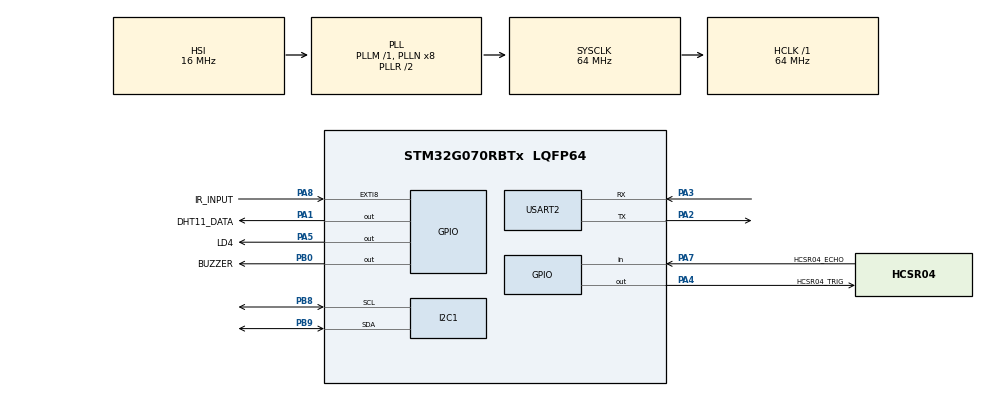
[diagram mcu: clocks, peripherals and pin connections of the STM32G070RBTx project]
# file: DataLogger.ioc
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FREERTOS.Tasks01=defaultTask,24,128,StartDefaultTask,Default,NULL,Dynamic,NULL,NULL
FREERTOS.configUSE_NEWLIB_REENTRANT=1
I2C1.Timing=0x10B17DB5
Mcu.Family=STM32G0
Mcu.Name=STM32G070RBTx
Mcu.Package=LQFP64
NVIC.EXTI4_15_IRQn=true\:3\:0\:false\:false\:true\:true\:true\:true\:true
NVIC.TIM1_BRK_UP_TRG_COM_IRQn=true\:3\:0\:false\:false\:true\:false\:false\:true\:true
NVIC.TimeBase=TIM1_BRK_UP_TRG_COM_IRQn
NVIC.TimeBaseIP=TIM1
PA1.GPIO_Label=DHT11_DATA
PA1.Signal=GPIO_Output
PA2.Mode=Asynchronous
PA2.Signal=USART2_TX
PA3.Mode=Asynchronous
PA3.Signal=USART2_RX
PA4.GPIO_Label=HCSR04_TRIG
PA4.GPIO_Speed=GPIO_SPEED_FREQ_HIGH
PA4.Signal=GPIO_Output
PA5.GPIO_Label=LD4
PA5.Signal=GPIO_Output
PA7.GPIO_Label=HCSR04_ECHO
PA7.Signal=GPIO_Input
PA8.GPIO_Label=IR_INPUT
PA8.GPIO_ModeDefaultEXTI=GPIO_MODE_IT_FALLING
PA8.GPIO_PuPd=GPIO_PULLUP
PA8.Signal=GPXTI8
PB0.GPIO_Label=BUZZER
PB0.Signal=GPIO_Output
PB8.Mode=I2C
PB8.Signal=I2C1_SCL
PB9.Mode=I2C
PB9.Signal=I2C1_SDA
ProjectManager.HeapSize=0x200
ProjectManager.StackSize=0x400
ProjectManager.TargetToolchain=STM32CubeIDE
RCC.ADCFreq_Value=64000000
RCC.AHBFreq_Value=64000000
RCC.CortexFreq_Value=64000000
RCC.EXTERNAL_CLOCK_VALUE=48000
RCC.HCLKFreq_Value=64000000
RCC.HSE_VALUE=8000000
RCC.HSI_VALUE=16000000
RCC.LSE_VALUE=32768
RCC.SYSCLKFreq_VALUE=64000000
RCC.SYSCLKSource=RCC_SYSCLKSOURCE_PLLCLK
RCC.VCOOutputFreq_Value=128000000
TIM14.Prescaler=63
TIM16.Prescaler=63
TIM17.Prescaler=63
USART2.VirtualMode-Asynchronous=VM_ASYNC
VP_FREERTOS_VS_CMSIS_V2.Mode=CMSIS_V2
VP_SYS_VS_tim1.Mode=TIM1
VP_TIM14_VS_ClockSourceINT.Mode=Enable_Timer
VP_TIM16_VS_ClockSourceINT.Mode=Enable_Timer
VP_TIM17_VS_ClockSourceINT.Mode=Enable_Timer
board=custom

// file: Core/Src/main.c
/* USER CODE BEGIN Header */
/**
  ******************************************************************************
  * @file           : main.c
  * @brief          : Main program body
  ******************************************************************************
  * @attention
  *
  * Copyright (c) 2026 STMicroelectronics.
  * All rights reserved.
  *
  * This software is licensed under terms that can be found in the LICENSE file
  * in the root directory of this software component.
  * If no LICENSE file comes with this software, it is provided AS-IS.
  *
  ******************************************************************************
  */
/* USER CODE END Header */
#include "main.h"
#include "cmsis_os.h"

/* USER CODE BEGIN Includes */
#include "DHT11.h"
#include "utils.h"
#include "HCSR04.h"
#include "ring_buffer.h"
#include "ir_remote.h"
#include "lcd.h"
#include <stdio.h>
#include <string.h>

#include "FreeRTOS.h"
#include "task.h"
#include "semphr.h"
#include "queue.h"
/* USER CODE END Includes */

/* USER CODE BEGIN PTD */
typedef struct {
	char line1[22];
	char line2[22];
} LCD_Message_t;
/* USER CODE END PTD */

I2C_HandleTypeDef hi2c1;

TIM_HandleTypeDef htim14;
TIM_HandleTypeDef htim16;
TIM_HandleTypeDef htim17;

UART_HandleTypeDef huart2;

/* Definitions for defaultTask */
osThreadId_t defaultTaskHandle;
const osThreadAttr_t defaultTask_attributes = {
  .name = "defaultTask",
  .priority = (osPriority_t) osPriorityNormal,
  .stack_size = 128 * 4
};
/* USER CODE BEGIN PV */
static SystemMode_t current_mode = MODE_LIVE;
static uint8_t playback_index = 0;
static RingBuffer_t rb;
static uint16_t distance_threshold = 20;
static uint16_t temp_distance_threshold = 20;

static uint16_t shared_distance = 0;
static SemaphoreHandle_t distance_mutex;

static TaskHandle_t dht11_task_handle;
static TaskHandle_t hcsr04_task_handle;

static QueueHandle_t lcd_queue;

static SemaphoreHandle_t ir_semaphore;
/* USER CODE END PV */

void SystemClock_Config(void);
static void MX_GPIO_Init(void);
static void MX_I2C1_Init(void);
static void MX_TIM14_Init(void);
static void MX_TIM16_Init(void);
static void MX_TIM17_Init(void);
static void MX_USART2_UART_Init(void);
void StartDefaultTask(void *argument);

/* USER CODE BEGIN 0 */
void Handle_IR_Command(IR_Data_t *ir_data);

void LED_Blink_Task(void *argument);
void UART_Print(char *msg);
void HCSR04_Task(void *argument);
void DHT11_Task(void *argument);
void Display_Task(void *argument);
void IR_Task(void *argument);

/* -------------------------------- OS Tasks -------------------------------- */
void LED_Blink_Task(void *argument){
	for(;;){
		HAL_GPIO_TogglePin(LD4_GPIO_Port, LD4_Pin);
		vTaskDelay(pdMS_TO_TICKS(1000));
	}
}

void HCSR04_Task(void *argument){
	HCSR04_Data_t data;
	HCSR04_Status_t status;
	TickType_t last_wake_time = xTaskGetTickCount();

	for(;;){

        // Reset wake time at start of each iteration
        // This prevents catch-up after suspension
        last_wake_time = xTaskGetTickCount();

		status = HCSR04_Read(&data);

		if(status == HCSR04_OK){
			if(xSemaphoreTake(distance_mutex, pdMS_TO_TICKS(100) == pdTRUE)){
				shared_distance = data.distance_cm;
				xSemaphoreGive(distance_mutex);
			}
		}
		vTaskDelayUntil(&last_wake_time, pdMS_TO_TICKS(500));
	}
}

void DHT11_Task(void *argument){
	DHT11_Data_t dht_data;
	DHT11_Status_t dht_status;
	uint16_t local_distance;
	char uart_buf[64];
	TickType_t last_wake_time = xTaskGetTickCount();

	LCD_Message_t msg;

	for(;;){

          // Reset wake time at start of each iteration
          // This prevents catch-up after suspension
          last_wake_time = xTaskGetTickCount();

		  vTaskSuspendAll();
		  dht_status = DHT11_ReadData(&dht_data);
		  xTaskResumeAll();

		  if(dht_status == DHT11_OK){

			  //Grab the latest distance
			  if(xSemaphoreTake(distance_mutex, pdMS_TO_TICKS(100)) == pdTRUE){
				  local_distance = shared_distance;
				  xSemaphoreGive(distance_mutex);
			  }

			  DataPoint_t dp = {
					  .distance = local_distance,
					  .temperature = dht_data.temperature,
					  .humidity = dht_data.humidity,
					  .timestamp = xTaskGetTickCount()
			  };

			  if(local_distance < distance_threshold){
				  HAL_GPIO_WritePin(BUZZER_GPIO_Port, BUZZER_Pin, GPIO_PIN_SET);
			  }else{
				  HAL_GPIO_WritePin(BUZZER_GPIO_Port, BUZZER_Pin, GPIO_PIN_RESET);
			  }

			  RingBuffer_Write(&rb, &dp);

			  snprintf(uart_buf, sizeof(uart_buf), "T: %dC, H: %d %%, D: %dcm, @ %lu ms \r\n",
					  dp.temperature, dp.humidity, dp.distance, dp.timestamp);
			  UART_Print(uart_buf);

			  snprintf(msg.line1, sizeof(msg.line1), "T:%dC H:%d%%", dp.temperature, dp.humidity);
			  snprintf(msg.line2, sizeof(msg.line2), "D:%dcm @%us", dp.distance, (unsigned int)(dp.timestamp/1000));

			  xQueueSend(lcd_queue, &msg, pdMS_TO_TICKS(100));

		  }else{
			  snprintf(uart_buf, sizeof(uart_buf), "DHT11 Err: %d\r\n", dht_status);
			  UART_Print(uart_buf);
		  }
		  vTaskDelayUntil(&last_wake_time, pdMS_TO_TICKS(2000));
	}
}

void IR_Task(void *argument){
	IR_Data_t ir_data;

	for(;;){
		if(xSemaphoreTake(ir_semaphore, portMAX_DELAY) == pdTRUE){
			if(IR_Get_Command(&ir_data)){
				Handle_IR_Command(&ir_data);
			}
		}
	}
}

void Display_Task(void *argument){
	LCD_Message_t msg;

	for(;;){
		if(xQueueReceive(lcd_queue, &msg, portMAX_DELAY) == pdTRUE){
			LCD_Clear();
			LCD_Print(msg.line1);
			LCD_SetCursor(1, 0);
			LCD_Print(msg.line2);
		}
	}
}
/* ------------------------------ OS Tasks End ------------------------------ */

void UART_Print(char *msg){
	HAL_UART_Transmit(&huart2, (uint8_t *)msg, strlen(msg), HAL_MAX_DELAY);
}

void Handle_IR_Command(IR_Data_t *ir_data){
	DataPoint_t display_data;
	uint16_t min_distance_threshold = 2;
	uint16_t max_distance_threshold = 400;
	uint8_t data_retrieved;
	LCD_Message_t msg = {0};

	switch(ir_data->command){
		case 0x0C:	//1 Live Mode
			playback_index = 0;
		    xQueueReset(lcd_queue);  // flush stale messages
			vTaskResume(dht11_task_handle);
			vTaskResume(hcsr04_task_handle);

			current_mode = MODE_LIVE;
			UART_Print("Mode: LIVE\r\n");
			break;

		case 0x18:	//2 Playback Mode
			playback_index = 0;
			vTaskSuspend(dht11_task_handle);
			vTaskSuspend(hcsr04_task_handle);

			current_mode = MODE_PLAYBACK;
			UART_Print("Mode: PLAYBACK\r\n");

			memset(&msg, 0, sizeof(msg));
			snprintf(msg.line1, sizeof(msg.line1), "Mode: PLAYBACK");
			xQueueSend(lcd_queue, &msg, pdMS_TO_TICKS(100));

			vTaskDelay(pdMS_TO_TICKS(750));

			data_retrieved = RingBuffer_Read(&rb, playback_index, &display_data);
			if(data_retrieved){
				memset(&msg, 0, sizeof(msg));
				snprintf(msg.line1, sizeof(msg.line1), "[%d], T:%dC, H:%d%%",
										playback_index, display_data.temperature, display_data.humidity);
				snprintf(msg.line2, sizeof(msg.line2), "D:%dcm, @%lus",
						display_data.distance, display_data.timestamp/1000);
				xQueueSend(lcd_queue, &msg, pdMS_TO_TICKS(100));
			}

			break;

		case 0x5E:	//3 Alert Config Mode
			vTaskSuspend(dht11_task_handle);
			vTaskSuspend(hcsr04_task_handle);

			current_mode = MODE_ALERT_CONFIG;
			temp_distance_threshold = distance_threshold;
			UART_Print("Mode: ALERT CONFIG\r\n");

			memset(&msg, 0, sizeof(msg));
			snprintf(msg.line1, sizeof(msg.line1), "Mode:");
			snprintf(msg.line2, sizeof(msg.line2), "ALERT CONFIG");
			xQueueSend(lcd_queue, &msg, pdMS_TO_TICKS(100));

			vTaskDelay(pdMS_TO_TICKS(750));

			memset(&msg, 0, sizeof(msg));
			snprintf(msg.line1, sizeof(msg.line1), "Dist Threshold");
			snprintf(msg.line2, sizeof(msg.line2), "%-4d", distance_threshold);
			xQueueSend(lcd_queue, &msg, pdMS_TO_TICKS(100));
			break;

		case 0x16:	//0 Home
			playback_index = 0;
		    xQueueReset(lcd_queue);  // flush stale messages
			vTaskResume(dht11_task_handle);
			vTaskResume(hcsr04_task_handle);

			current_mode = MODE_LIVE;
			UART_Print("Mode: LIVE\r\n");
			break;

		case 0x47:	//CH+ Next Entry In Playback
			if(current_mode == MODE_PLAYBACK){

				if(playback_index >= RingBuffer_GetCount(&rb) - 1){
					playback_index = 0;
				}else{
					playback_index++;
				}

				data_retrieved = RingBuffer_Read(&rb, playback_index, &display_data);
				if(data_retrieved){

					memset(&msg, 0, sizeof(msg));
					snprintf(msg.line1, sizeof(msg.line1), "[%d], T:%dC, H:%d%%",
							playback_index, display_data.temperature, display_data.humidity);
					snprintf(msg.line2, sizeof(msg.line2), "D:%dcm, @%lus",
							display_data.distance, display_data.timestamp/1000);
					xQueueSend(lcd_queue, &msg, pdMS_TO_TICKS(100));
					}
			}
			break;

		case 0x45:	//CH- Previous Entry In Playback
			if(current_mode == MODE_PLAYBACK){

				if(playback_index  == 0){
					playback_index = RingBuffer_GetCount(&rb) - 1;
				}else{
				playback_index--;
				}

				data_retrieved = RingBuffer_Read(&rb, playback_index, &display_data);
				if(data_retrieved){
					memset(&msg, 0, sizeof(msg));
					snprintf(msg.line1, sizeof(msg.line1), "[%d], T:%dC, H:%d%%",
							playback_index, display_data.temperature, display_data.humidity);
					snprintf(msg.line2, sizeof(msg.line2), "D:%dcm, @%lus",
							display_data.distance, display_data.timestamp/1000);
					xQueueSend(lcd_queue, &msg, pdMS_TO_TICKS(100));
					}
			}
			break;

		case 0x15:	//Vol+ Increase Threshold
			if(current_mode == MODE_ALERT_CONFIG){
				if(temp_distance_threshold < max_distance_threshold){
					temp_distance_threshold++;

					memset(&msg, 0, sizeof(msg));
					snprintf(msg.line1, sizeof(msg.line1), "Dist Threshold");
					snprintf(msg.line2, sizeof(msg.line2), "%-4d", temp_distance_threshold);
					xQueueSend(lcd_queue, &msg, pdMS_TO_TICKS(100));
				}
			}
			break;

		case 0x07:	//Vol- Decrease Threshold
			if(current_mode == MODE_ALERT_CONFIG){
				if(temp_distance_threshold > min_distance_threshold){
					temp_distance_threshold--;

					memset(&msg, 0, sizeof(msg));
					snprintf(msg.line1, sizeof(msg.line1), "Dist Threshold");
					snprintf(msg.line2, sizeof(msg.line2), "%-4d", temp_distance_threshold);
					xQueueSend(lcd_queue, &msg, pdMS_TO_TICKS(100));
				}
			}
			break;

		case 0x43:	//Play/Pause - Confirm
			if(current_mode == MODE_ALERT_CONFIG){
				distance_threshold = temp_distance_threshold;
		        xQueueReset(lcd_queue);
		        vTaskResume(dht11_task_handle);
		        vTaskResume(hcsr04_task_handle);
				current_mode = MODE_LIVE;
			}
			break;

		default:
			break;
	}
}

/* USER CODE END 0 */

int main(void)
{

  /* MCU Configuration--------------------------------------------------------*/

  /* Reset of all peripherals, Initializes the Flash interface and the Systick. */
  HAL_Init();

  /* Configure the system clock */
  SystemClock_Config();

  /* Initialize all configured peripherals */
  MX_GPIO_Init();
  MX_I2C1_Init();
  MX_TIM14_Init();
  MX_TIM16_Init();
  MX_TIM17_Init();
  MX_USART2_UART_Init();
  /* USER CODE BEGIN 2 */
  utils_init(&htim14);
  DHT11_Init();
  HCSR04_Init(&htim16);
  IR_Init(&htim17);

  RingBuffer_Init(&rb);
  __HAL_TIM_SET_COUNTER(&htim14, 0);
  delay_us(100);

  HAL_Delay(500);
  LCD_Init(&hi2c1);
  LCD_Print("Data Logger Ready");
  LCD_SetCursor(1, 0);
  LCD_Print("Waiting...");

  /* USER CODE END 2 */

  /* Init scheduler */
  osKernelInitialize();

  /* Create the thread(s) */
  /* creation of defaultTask */
//  defaultTaskHandle = osThreadNew(StartDefaultTask, NULL, &defaultTask_attributes);

  /* USER CODE BEGIN RTOS_THREADS */
  /* add threads, ... */

  distance_mutex = xSemaphoreCreateMutex();

  lcd_queue = xQueueCreate(5, sizeof(LCD_Message_t));

  xTaskCreate(LED_Blink_Task, "BlinkTask", 128, NULL, 1, NULL);
  xTaskCreate(Display_Task, "DisplayTask", 512, NULL, 1, NULL);
  xTaskCreate(HCSR04_Task, "HSCR04Task", 256, NULL, 2, &hcsr04_task_handle);
  BaseType_t result = xTaskCreate(DHT11_Task, "DHT11Task", 1024, NULL, 2, &dht11_task_handle);
  if(result != pdPASS){
      UART_Print("DHT11 Task creation failed\r\n");
      Error_Handler();
  }

  ir_semaphore = xSemaphoreCreateBinary();
  xTaskCreate(IR_Task, "IR Task", 512, NULL, 3, NULL);
  /* USER CODE END RTOS_THREADS */

  /* Start scheduler */
  vTaskStartScheduler();

  /* We should never get here as control is now taken by the scheduler */

  /* Infinite loop */
  while (1)
  {

  }
}

void SystemClock_Config(void)
{
  RCC_OscInitTypeDef RCC_OscInitStruct = {0};
  RCC_ClkInitTypeDef RCC_ClkInitStruct = {0};

  /** Configure the main internal regulator output voltage
  */
  HAL_PWREx_ControlVoltageScaling(PWR_REGULATOR_VOLTAGE_SCALE1);

  /** Initializes the RCC Oscillators according to the specified parameters
  * in the RCC_OscInitTypeDef structure.
  */
  RCC_OscInitStruct.OscillatorType = RCC_OSCILLATORTYPE_HSI;
  RCC_OscInitStruct.HSIState = RCC_HSI_ON;
  RCC_OscInitStruct.HSIDiv = RCC_HSI_DIV1;
  RCC_OscInitStruct.HSICalibrationValue = RCC_HSICALIBRATION_DEFAULT;
  RCC_OscInitStruct.PLL.PLLState = RCC_PLL_ON;
  RCC_OscInitStruct.PLL.PLLSource = RCC_PLLSOURCE_HSI;
  RCC_OscInitStruct.PLL.PLLM = RCC_PLLM_DIV1;
  RCC_OscInitStruct.PLL.PLLN = 8;
  RCC_OscInitStruct.PLL.PLLP = RCC_PLLP_DIV2;
  RCC_OscInitStruct.PLL.PLLR = RCC_PLLR_DIV2;
  if (HAL_RCC_OscConfig(&RCC_OscInitStruct) != HAL_OK)
  {
    Error_Handler();
  }

  /** Initializes the CPU, AHB and APB buses clocks
  */
  RCC_ClkInitStruct.ClockType = RCC_CLOCKTYPE_HCLK|RCC_CLOCKTYPE_SYSCLK
                              |RCC_CLOCKTYPE_PCLK1;
  RCC_ClkInitStruct.SYSCLKSource = RCC_SYSCLKSOURCE_PLLCLK;
  RCC_ClkInitStruct.AHBCLKDivider = RCC_SYSCLK_DIV1;
  RCC_ClkInitStruct.APB1CLKDivider = RCC_HCLK_DIV1;

  if (HAL_RCC_ClockConfig(&RCC_ClkInitStruct, FLASH_LATENCY_2) != HAL_OK)
  {
    Error_Handler();
  }
}

static void MX_I2C1_Init(void)
{

  hi2c1.Instance = I2C1;
  hi2c1.Init.Timing = 0x10B17DB5;
  hi2c1.Init.OwnAddress1 = 0;
  hi2c1.Init.AddressingMode = I2C_ADDRESSINGMODE_7BIT;
  hi2c1.Init.DualAddressMode = I2C_DUALADDRESS_DISABLE;
  hi2c1.Init.OwnAddress2 = 0;
  hi2c1.Init.OwnAddress2Masks = I2C_OA2_NOMASK;
  hi2c1.Init.GeneralCallMode = I2C_GENERALCALL_DISABLE;
  hi2c1.Init.NoStretchMode = I2C_NOSTRETCH_DISABLE;
  if (HAL_I2C_Init(&hi2c1) != HAL_OK)
  {
    Error_Handler();
  }

  /** Configure Analogue filter
  */
  if (HAL_I2CEx_ConfigAnalogFilter(&hi2c1, I2C_ANALOGFILTER_ENABLE) != HAL_OK)
  {
    Error_Handler();
  }

  /** Configure Digital filter
  */
  if (HAL_I2CEx_ConfigDigitalFilter(&hi2c1, 0) != HAL_OK)
  {
    Error_Handler();
  }

}

static void MX_TIM14_Init(void)
{

  htim14.Instance = TIM14;
  htim14.Init.Prescaler = 63;
  htim14.Init.CounterMode = TIM_COUNTERMODE_UP;
  htim14.Init.Period = 65535;
  htim14.Init.ClockDivision = TIM_CLOCKDIVISION_DIV1;
  htim14.Init.AutoReloadPreload = TIM_AUTORELOAD_PRELOAD_DISABLE;
  if (HAL_TIM_Base_Init(&htim14) != HAL_OK)
  {
    Error_Handler();
  }

}

static void MX_TIM16_Init(void)
{

  htim16.Instance = TIM16;
  htim16.Init.Prescaler = 63;
  htim16.Init.CounterMode = TIM_COUNTERMODE_UP;
  htim16.Init.Period = 65535;
  htim16.Init.ClockDivision = TIM_CLOCKDIVISION_DIV1;
  htim16.Init.RepetitionCounter = 0;
  htim16.Init.AutoReloadPreload = TIM_AUTORELOAD_PRELOAD_DISABLE;
  if (HAL_TIM_Base_Init(&htim16) != HAL_OK)
  {
    Error_Handler();
  }

}

static void MX_TIM17_Init(void)
{

  htim17.Instance = TIM17;
  htim17.Init.Prescaler = 63;
  htim17.Init.CounterMode = TIM_COUNTERMODE_UP;
  htim17.Init.Period = 65535;
  htim17.Init.ClockDivision = TIM_CLOCKDIVISION_DIV1;
  htim17.Init.RepetitionCounter = 0;
  htim17.Init.AutoReloadPreload = TIM_AUTORELOAD_PRELOAD_DISABLE;
  if (HAL_TIM_Base_Init(&htim17) != HAL_OK)
  {
    Error_Handler();
  }

}

static void MX_USART2_UART_Init(void)
{

  huart2.Instance = USART2;
  huart2.Init.BaudRate = 115200;
  huart2.Init.WordLength = UART_WORDLENGTH_8B;
  huart2.Init.StopBits = UART_STOPBITS_1;
  huart2.Init.Parity = UART_PARITY_NONE;
  huart2.Init.Mode = UART_MODE_TX_RX;
  huart2.Init.HwFlowCtl = UART_HWCONTROL_NONE;
  huart2.Init.OverSampling = UART_OVERSAMPLING_16;
  huart2.Init.OneBitSampling = UART_ONE_BIT_SAMPLE_DISABLE;
  huart2.Init.ClockPrescaler = UART_PRESCALER_DIV1;
  huart2.AdvancedInit.AdvFeatureInit = UART_ADVFEATURE_NO_INIT;
  if (HAL_UART_Init(&huart2) != HAL_OK)
  {
    Error_Handler();
  }
  if (HAL_UARTEx_SetTxFifoThreshold(&huart2, UART_TXFIFO_THRESHOLD_1_8) != HAL_OK)
  {
    Error_Handler();
  }
  if (HAL_UARTEx_SetRxFifoThreshold(&huart2, UART_RXFIFO_THRESHOLD_1_8) != HAL_OK)
  {
    Error_Handler();
  }
  if (HAL_UARTEx_DisableFifoMode(&huart2) != HAL_OK)
  {
    Error_Handler();
  }

}

static void MX_GPIO_Init(void)
{
  GPIO_InitTypeDef GPIO_InitStruct = {0};

  /* GPIO Ports Clock Enable */
  __HAL_RCC_GPIOA_CLK_ENABLE();
  __HAL_RCC_GPIOB_CLK_ENABLE();

  /*Configure GPIO pin Output Level */
  HAL_GPIO_WritePin(GPIOA, DHT11_DATA_Pin|HCSR04_TRIG_Pin|LD4_Pin, GPIO_PIN_RESET);

  /*Configure GPIO pin Output Level */
  HAL_GPIO_WritePin(BUZZER_GPIO_Port, BUZZER_Pin, GPIO_PIN_RESET);

  /*Configure GPIO pins : DHT11_DATA_Pin LD4_Pin */
  GPIO_InitStruct.Pin = DHT11_DATA_Pin|LD4_Pin;
  GPIO_InitStruct.Mode = GPIO_MODE_OUTPUT_PP;
  GPIO_InitStruct.Pull = GPIO_NOPULL;
  GPIO_InitStruct.Speed = GPIO_SPEED_FREQ_LOW;
  HAL_GPIO_Init(GPIOA, &GPIO_InitStruct);

  /*Configure GPIO pin : HCSR04_TRIG_Pin */
  GPIO_InitStruct.Pin = HCSR04_TRIG_Pin;
  GPIO_InitStruct.Mode = GPIO_MODE_OUTPUT_PP;
  GPIO_InitStruct.Pull = GPIO_NOPULL;
  GPIO_InitStruct.Speed = GPIO_SPEED_FREQ_HIGH;
  HAL_GPIO_Init(HCSR04_TRIG_GPIO_Port, &GPIO_InitStruct);

  /*Configure GPIO pin : HCSR04_ECHO_Pin */
  GPIO_InitStruct.Pin = HCSR04_ECHO_Pin;
  GPIO_InitStruct.Mode = GPIO_MODE_INPUT;
  GPIO_InitStruct.Pull = GPIO_NOPULL;
  HAL_GPIO_Init(HCSR04_ECHO_GPIO_Port, &GPIO_InitStruct);

  /*Configure GPIO pin : BUZZER_Pin */
  GPIO_InitStruct.Pin = BUZZER_Pin;
  GPIO_InitStruct.Mode = GPIO_MODE_OUTPUT_PP;
  GPIO_InitStruct.Pull = GPIO_NOPULL;
  GPIO_InitStruct.Speed = GPIO_SPEED_FREQ_LOW;
  HAL_GPIO_Init(BUZZER_GPIO_Port, &GPIO_InitStruct);

  /*Configure GPIO pin : IR_INPUT_Pin */
  GPIO_InitStruct.Pin = IR_INPUT_Pin;
  GPIO_InitStruct.Mode = GPIO_MODE_IT_FALLING;
  GPIO_InitStruct.Pull = GPIO_PULLUP;
  HAL_GPIO_Init(IR_INPUT_GPIO_Port, &GPIO_InitStruct);

  /* EXTI interrupt init*/
  HAL_NVIC_SetPriority(EXTI4_15_IRQn, 3, 0);
  HAL_NVIC_EnableIRQ(EXTI4_15_IRQn);

}

/* USER CODE BEGIN 4 */

void HAL_GPIO_EXTI_Falling_Callback(uint16_t GPIO_Pin){
	  if(GPIO_Pin == IR_INPUT_Pin){
		  UBaseType_t uxSavedInterruptStatus = taskENTER_CRITICAL_FROM_ISR();
		  IR_EXTI_Callback();
		  taskEXIT_CRITICAL_FROM_ISR(uxSavedInterruptStatus);

		  BaseType_t higher_priority_task_woken = pdFALSE;
		  xSemaphoreGiveFromISR(ir_semaphore, &higher_priority_task_woken);
		  portYIELD_FROM_ISR(higher_priority_task_woken);
	  }
}

/* USER CODE END 4 */

void HAL_TIM_PeriodElapsedCallback(TIM_HandleTypeDef *htim)
{
  if (htim->Instance == TIM1)
  {
    HAL_IncTick();
  }
}

void Error_Handler(void)
{
  __disable_irq();
  while (1)
  {
  }
}
